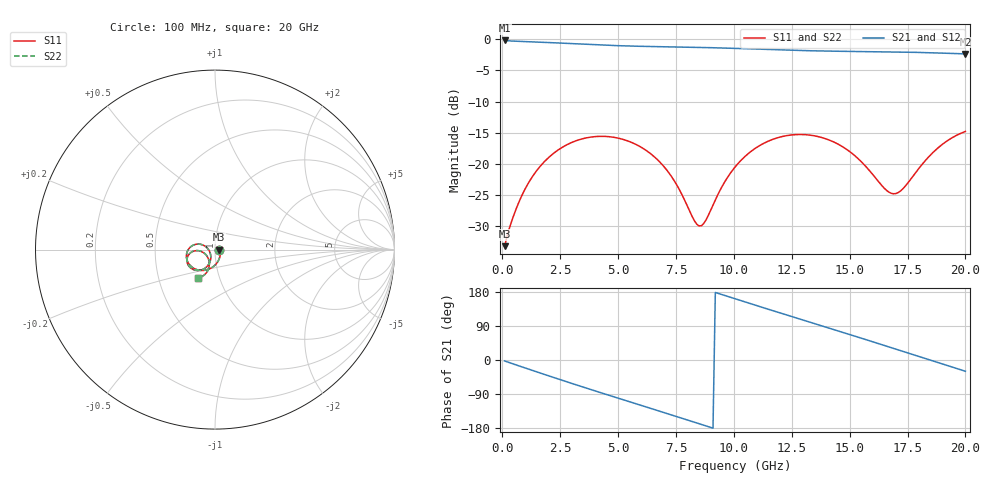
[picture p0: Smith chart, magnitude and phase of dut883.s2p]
! Touchstone file exported from HFSS 2026.1.0
!  File:  C:/ffzhzh/LocalFiles/Ansys_Project_Files/temp_train_TSV_RDL_883_1783274074_38704.aedt
!  Generated:  02:02:11 AM Jul  6, 2026
!  Design:  TSV_RDL
!  Project:  temp_train_TSV_RDL_883_1783274074_38704
! Variables:
!  h_bsmrdl = 3.4um
!  h_ox = 20um
!  h_rdl = 5um
!  h_sub = 71.01um
!  h_tmrdl = 5.94um
!  h_tsv = 71.01um
!  h_via = 3um
!  l_bsmrdl = 942.28um
!  l_sub = 6787.32um
!  l_tmrdl = 851um
!  m_sub = 200um
!  pitch = 29.32um
!  r_tsv = 10.01um
!  s_tmrdl = 10um
!  w_bsmrdl = 25.7um
!  w_sub = 500um
!  w_tmrdl = 26.46um
!  x_tsv_center1 = 864.23um
!  x_tsv_center2 = 1832.21um
!  x_tsv_center3 = 2709.67um
!  x_tsv_center4 = 3677.65um
!  x_tsv_center5 = 4555.11um
!  x_tsv_center6 = 5523.09um
# GHz S MA R 50.000000
! Terminal data exported
! Port[1] = TM_RDL1_1_T1
! Port[2] = TM_RDL5_1_T1
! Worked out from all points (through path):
!   200 points, 100 MHz to 20 GHz, reference 50 ohm
!   highest |S21| = -0.19 dB at 100 MHz (marker M1); lowest = -2.3 dB at 20 GHz (marker M2)
!   group delay of S21, straight-line fit = 53.7 ps
!   lowest |S11| = -33.2 dB at 100 MHz (marker M3), VSWR 1.04, Z = 52.2 - j0.0838 ohm
!   |S11| at or under -10 dB: start of sweep to end of sweep
!   |S22| runs from -33.2 to -14.8 dB; largest |S21 - S12| = 2.2e-14
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0.1  0.02196 -2.1  0.978 -2.4  0.978 -2.4  0.02196 -2.1
! Gamma 0 0 0 0
! Port Impedance 50 0 50 0
0.7  0.04861 -56.0  0.9622 -15.1  0.9622 -15.1  0.0486 -56.0
1.4  0.08421 -88.4  0.9514 -29.5  0.9514 -29.5  0.0842 -88.4
2.5  0.1329 -119.2  0.9317 -51.8  0.9317 -51.8  0.1329 -119.2
3.5  0.16 -141.3  0.9124 -71.6  0.9124 -71.6  0.16 -141.3
4.3  0.1667 -157.1  0.8984 -87.2  0.8984 -87.2  0.1667 -157.2
5.1  0.1597 -171.8  0.887 -102.6  0.887 -102.6  0.1597 -171.8
6.8  0.1038 162.9  0.8715 -135.2  0.8715 -135.2  0.1039 162.9
7.4  0.07473 159.2  0.8677 -146.8  0.8677 -146.8  0.07478 159.1
8.5  0.0319 -160.3  0.8601 -168.1  0.8601 -168.1  0.03189 -160.6
8.8  0.03569 -134.7  0.8577 -174.0  0.8577 -174.0  0.03563 -134.9
9.5  0.06643 -112.8  0.8511 172.3  0.8511 172.3  0.06633 -113.0
10.1  0.09693 -114.0  0.8445 160.7  0.8445 160.7  0.09681 -114.1
10.9  0.1326 -122.4  0.8348 145.2  0.8348 145.2  0.1324 -122.6
11.8  0.1605 -134.7  0.8237 128.0  0.8237 128.0  0.1603 -134.9
13.4  0.1693 -157.3  0.8079 97.6  0.8079 97.6  0.169 -157.5
15  0.126 -174.9  0.7994 67.3  0.7994 67.3  0.1255 -175.2
16.7  0.05947 -153.9  0.793 34.5  0.793 34.5  0.05854 -154.1
17.2  0.06085 -130.0  0.7902 24.7  0.7902 24.7  0.06001 -129.6
18.3  0.1081 -108.7  0.7813 3.3  0.7813 3.3  0.1078 -108.3
19.1  0.1482 -112.0  0.773 -12.3  0.773 -12.3  0.148 -111.8
20  0.1824 -120.9  0.7635 -29.7  0.7635 -29.7  0.1823 -120.7
